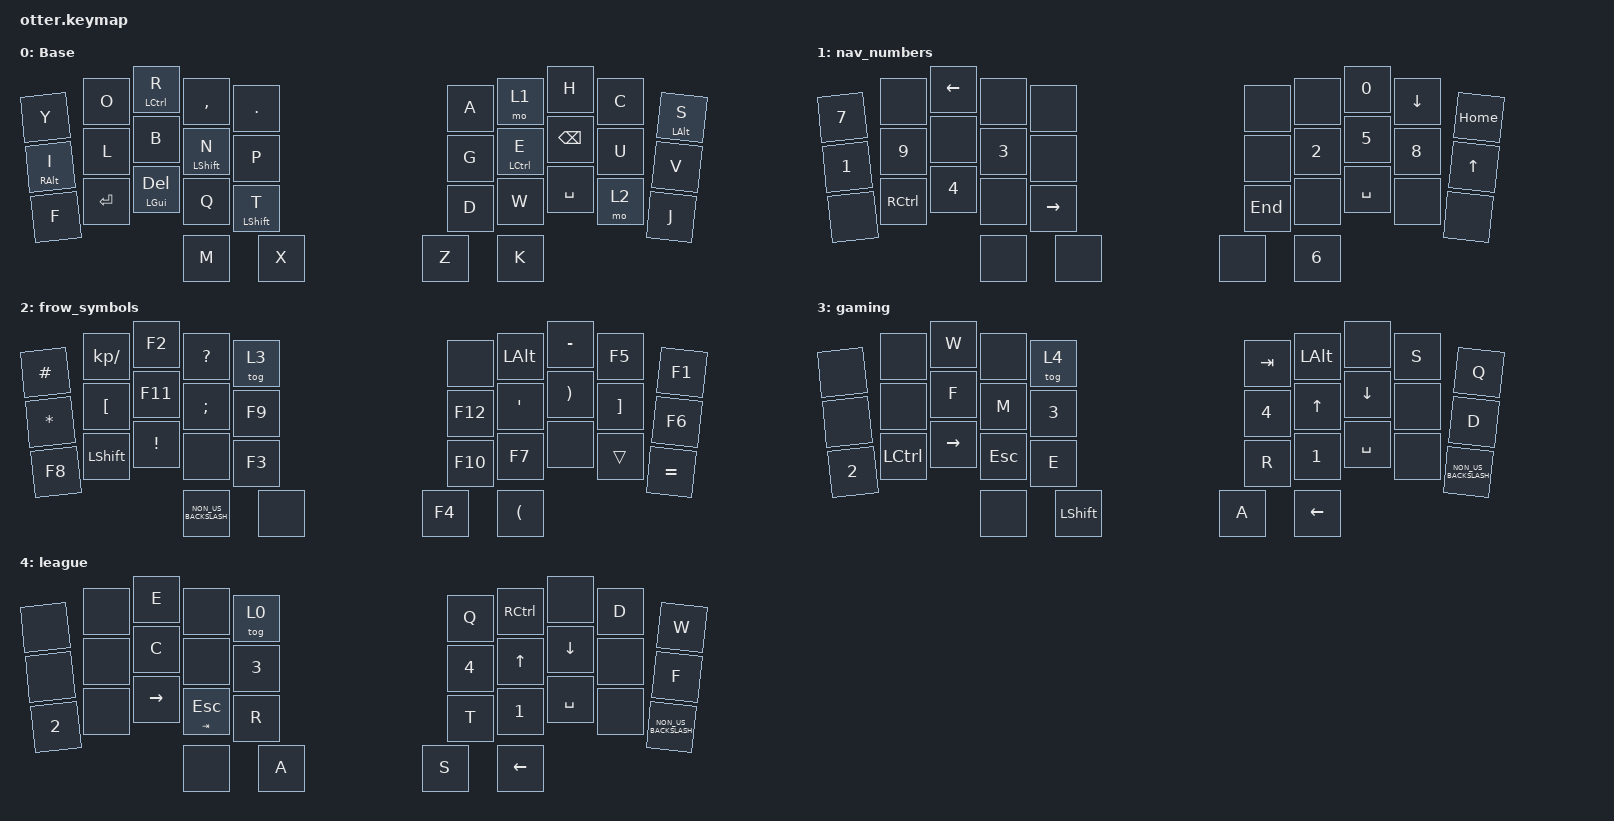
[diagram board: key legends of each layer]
#include <behaviors.dtsi>
#include <dt-bindings/zmk/keys.h>

/ {
    combos {
        compatible = "zmk,combos";

        alt_r {
            bindings = <&alt_R>;
            key-positions = <31 32>;
        };

        esc {
            bindings = <&kp ESCAPE>;
            key-positions = <1 2>;
            layers = <0 3 4>;
        };

        shift_6 {
            bindings = <&kp CARET>;
            key-positions = <6 7>;
            layers = <2>;
        };

        at {
            bindings = <&kp AT_SIGN>;
            key-positions = <16 17>;
            layers = <2>;
        };

        less_than {
            bindings = <&kp LESS_THAN>;
            key-positions = <17 18>;
            layers = <2>;
        };

        more_than {
            bindings = <&kp GREATER_THAN>;
            key-positions = <27 28>;
            layers = <2>;
        };

        prtsc {
            bindings = <&kp PRINTSCREEN>;
            key-positions = <31 13 12>;
        };

        home {
            bindings = <&kp HOME>;
            key-positions = <12 13>;
            layers = <1>;
        };

        end {
            bindings = <&kp END>;
            key-positions = <22 23>;
            layers = <1>;
        };

        tab {
            bindings = <&kp TAB>;
            key-positions = <10 11>;
            layers = <0>;
        };

        z {
            bindings = <&kp Z>;
            key-positions = <20 21>;
            layers = <4>;
        };
    };

    macros {
        alt_R: alt_R {
            compatible = "zmk,behavior-macro";
            #binding-cells = <0>;
            bindings = <&kp LEFT_ALT &kp R>;
            label = "ALT_R";
        };
    };

    behaviors {
        ht: ht {
            compatible = "zmk,behavior-hold-tap";
            label = "ht";
            bindings = <&kp>, <&kp>;

            #binding-cells = <2>;
            flavor = "tap-preferred";
            tapping-term-ms = <150>;
        };
    };

    keymap {
        compatible = "zmk,keymap";

        base {
            display-name = "Base";
            bindings = <
&kp Q  &kp W           &kp F        &kp P             &kp G      &kp J      &kp L         &kp U        &kp Y                &kp DOT
&kp A  &ht LEFT_ALT S  &ht LCTRL R  &ht LEFT_SHIFT T  &kp D      &kp H      &ht LSHIFT N  &ht LCTRL E  &ht RIGHT_ALT I      &kp O
&kp X  &kp Z           &kp C        &kp V             &kp B      &kp M      &kp K         &kp BSPC     &ht LEFT_GUI DELETE  &kp COMMA
                                    &mo 1             &kp SPACE  &kp ENTER  &mo 2
            >;
        };

        nav_numbers {
            bindings = <
&none  &none     &none     &none         &none      &none      &kp N9  &kp N8  &kp N7  &none
&none  &kp HOME  &kp LEFT  &kp RIGHT     &kp END    &kp N0     &kp N3  &kp N2  &kp N1  &none
&none  &none     &kp DOWN  &kp UP_ARROW  &none      &none      &kp N6  &kp N5  &kp N4  &none
                           &none         &kp SPACE  &kp RCTRL  &none
            >;
        };

        frow_symbols {
            bindings = <
&none  &kp F7  &kp F8  &kp F9        &kp F12  &kp EQUAL             &kp LEFT_BRACKET      &kp RIGHT_BRACKET      &kp POUND        &tog 3
&none  &kp F1  &kp F2  &kp F3        &kp F10  &kp MINUS             &kp SEMICOLON         &kp SQT                &kp ASTERISK     &kp KP_SLASH
&none  &kp F4  &kp F5  &kp F6        &kp F11  &kp NON_US_BACKSLASH  &kp LEFT_PARENTHESIS  &kp RIGHT_PARENTHESIS  &kp EXCLAMATION  &kp QUESTION
                       &kp LEFT_ALT  &none    &kp LEFT_SHIFT        &trans
            >;
        };

        gaming {
            bindings = <
&kp ESC    &kp N1  &kp N2  &kp N3    &kp N4     &kp NON_US_BACKSLASH  &none     &none         &none      &tog 4
&kp TAB    &kp Q   &kp W   &kp E     &kp R      &none                 &kp M     &kp UP_ARROW  &none      &none
&kp LSHFT  &kp A   &kp S   &kp D     &kp F      &none                 &kp LEFT  &kp DOWN      &kp RIGHT  &none
                           &kp LALT  &kp SPACE  &kp LCTRL             &none
            >;
        };

        league {
            bindings = <
&ht TAB ESCAPE  &kp N1  &kp N2  &kp N3     &kp N4     &kp NON_US_BACKSLASH  &none     &none         &none      &tog 0
&kp Q           &kp W   &kp E   &kp R      &kp T      &none                 &none     &kp UP_ARROW  &none      &none
&kp A           &kp S   &kp D   &kp F      &kp C      &none                 &kp LEFT  &kp DOWN      &kp RIGHT  &none
                                &kp RCTRL  &kp SPACE  &none                 &none
            >;
        };
    };
};
